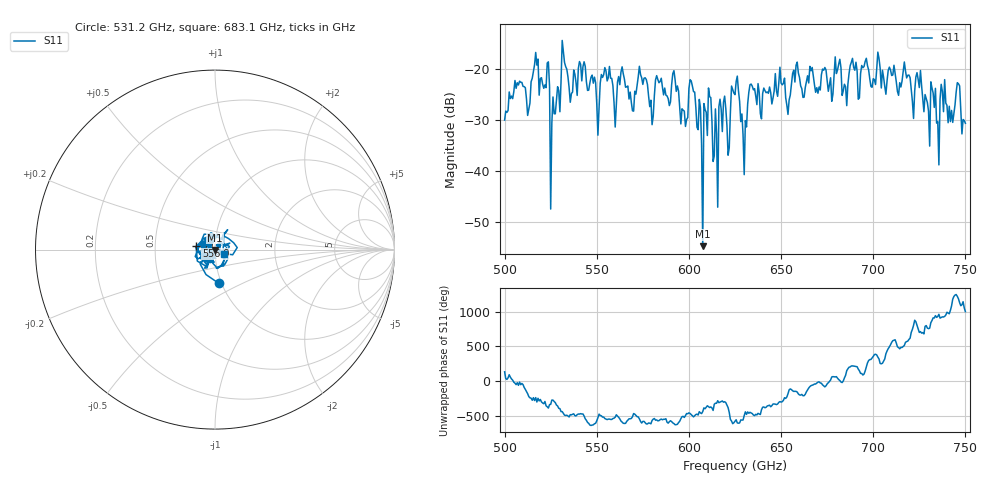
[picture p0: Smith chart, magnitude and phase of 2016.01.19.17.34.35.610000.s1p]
!Created with skrf (http://scikit-rf.org).
# GHz S RI R 50.0
!freq ReS11 ImS11
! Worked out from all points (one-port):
!   401 points, 500 GHz to 750 GHz, reference 50 ohm
!   lowest |S11| = -54.7 dB at 607.5 GHz (marker M1), VSWR 1.00, Z = 50 - j0.182 ohm
!   |S11| at or under -10 dB: start of sweep to end of sweep
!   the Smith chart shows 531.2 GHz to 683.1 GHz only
!   S11 on the Smith chart (normalised r, x): 531.2 GHz: 0.97, -0.38; 556.9 GHz: 0.81, +0.03; 683.1 GHz: 1.10, -0.05
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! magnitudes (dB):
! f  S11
! 500 GHz  -30.0
! 506.9 GHz  -22.7
! 513.1 GHz  -27.9
! 516.9 GHz  -16.8
! 523.1 GHz  -18.8
! 526.2 GHz  -25.5
! 531.2 GHz  -14.4
! 550.6 GHz  -33.0
! 556.9 GHz  -19.5
! 562.5 GHz  -23.1
! 579.4 GHz  -26.1
! 583.1 GHz  -22.1
! 593.8 GHz  -23.3
! 598.1 GHz  -31.3
! 601.9 GHz  -23.4
! 607.5 GHz  -54.7
! 610.6 GHz  -23.7
! 614.4 GHz  -27.8
! 625 GHz  -25.0
! 630 GHz  -40.7
! 633.8 GHz  -23.0
! 656.2 GHz  -20.9
! 683.1 GHz  -25.2
! 687.5 GHz  -19.3
! 718.8 GHz  -21.2
! 734.4 GHz  -30.6
! 746.2 GHz  -22.9
! 750 GHz  -30.7
